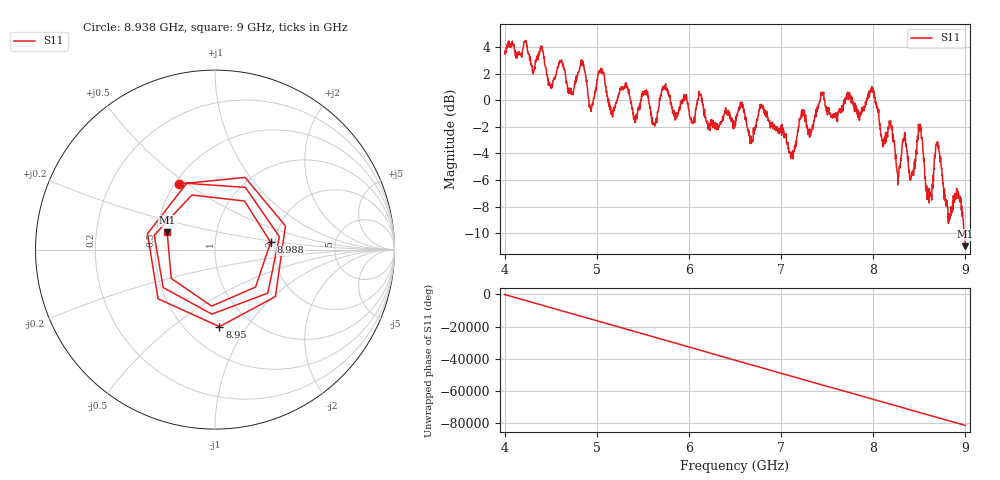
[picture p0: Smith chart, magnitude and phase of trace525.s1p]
! Created with skrf 1.8.0 (http://scikit-rf.org).
# Hz S RI R 50.0
!freq ReS11 ImS11
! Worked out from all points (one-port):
!   1601 points, 4 GHz to 9 GHz, reference 50 ohm
!   lowest |S11| = -11.0 dB at 9 GHz (marker M1), VSWR 1.79, Z = 28.5 + j5.95 ohm
!   |S11| at or under -10 dB: 8.984491 GHz to end of sweep
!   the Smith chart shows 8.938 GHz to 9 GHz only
!   S11 on the Smith chart (normalised r, x): 8.938 GHz: 0.52, +0.46; 8.95 GHz: 0.72, -0.76; 8.988 GHz: 1.89, +0.17; 9 GHz: 0.57, +0.12
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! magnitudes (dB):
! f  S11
! 4 GHz  3.5
! 4.5 GHz  1.1
! 4.625 GHz  2.8
! 4.719 GHz  0.9
! 4.847 GHz  2.8
! 4.938 GHz  -0.8
! 5.038 GHz  2.2
! 5.156 GHz  -0.9
! 5.25 GHz  0.8
! 5.875 GHz  -1.2
! 6.5 GHz  -1.7
! 6.681 GHz  -3.0
! 6.794 GHz  -0.4
! 7.125 GHz  -4.1
! 7.228 GHz  -1.0
! 7.75 GHz  0.4
! 7.988 GHz  1.0
! 8.106 GHz  -3.5
! 8.375 GHz  -4.5
! 8.419 GHz  -5.4
! 8.506 GHz  -2.3
! 8.594 GHz  -7.3
! 8.697 GHz  -3.1
! 8.816 GHz  -9.2
! 8.938 GHz  -7.6
! 8.95 GHz  -7.3
! 8.988 GHz  -10.1
! 9 GHz  -11.0
